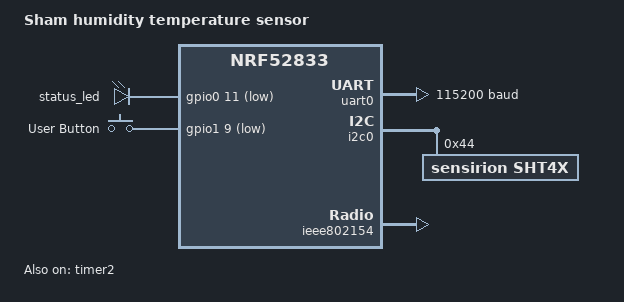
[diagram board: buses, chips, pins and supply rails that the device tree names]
/*
 * Copyright (c) 2024 Tareq Mhisen
 */

/dts-v1/;
#include <nordic/nrf52833_qdaa.dtsi>
#include "sham_nrf52833-pinctrl.dtsi"

/ {
	model = "Sham humidity temperature sensor";
	compatible = "sham_TBZ,sham_nrf52833";

	chosen {
		zephyr,console = &uart0;
		zephyr,sram = &sram0;
		zephyr,flash = &flash0;
		zephyr,code-partition = &slot0_partition;
		zephyr,ieee802154 = &ieee802154;
		ncs,zigbee-timer = &timer2;
	};

	leds {
		compatible = "gpio-leds";
		status_led: red_led {
			gpios = <&gpio0 11 GPIO_ACTIVE_LOW>;
		};
	};

	buttons {
		compatible = "gpio-keys";
		user_button: button_0 {
			gpios = <&gpio1 9 GPIO_ACTIVE_LOW>;
			label = "User Button";
		};
	};

	aliases {
		led0 = &status_led;
		sw0 = &user_button;
	};
};

&gpiote {
	status = "okay";
};

&gpio0 {
	status = "okay";
};

&gpio1 {
	status = "okay";
	/*
	 * Currently edge interrupts are using GPIOTE events. Using GPIOTE events results in increased
	 * power consumption according to product specifications and erratas of some nRF MCUs. In case
	 * of nRF52833, it is <20uA in System ON Idle. Selecting GPIO SENSE option will allow to reduce
	 * power consumption.
	 */
	sense-edge-mask = <0x00000200>; /* Enable SENSE for pin 9 (user_button) */
};

&uicr {
	gpio-as-nreset;
};

&reg1 {
	regulator-initial-mode = <NRF5X_REG_MODE_DCDC>;
};

&uart0 {
	compatible = "nordic,nrf-uarte";
	status = "okay";
	disable-rx;
	current-speed = <115200>;
	pinctrl-0 = <&uart0_default>;
	pinctrl-1 = <&uart0_sleep>;
	pinctrl-names = "default", "sleep";
};

&i2c0 {
	compatible = "nordic,nrf-twim";
	status = "okay";
	pinctrl-0 = <&i2c0_default>;
	pinctrl-1 = <&i2c0_sleep>;
	pinctrl-names = "default", "sleep";
	sht4x@44 {
		compatible = "sensirion,sht4x";
		reg = <0x44>;
		repeatability = <2>;
	};
};

&timer2 {
	status = "okay";
};

/* Enable IEEE 802.14.5 radio in order to zigbee to work */
&ieee802154 {
	status = "okay";
};

/*
 * All the information regarding partitions defined here will be ignored by Nordic SDK, as soon as a second image (i.e. mcuboot) is enabled.
 * Nordic has their own approach to define partitions. In case you want to know more about the approach from Nordic,
  * you can have a look on this documentation: https: //developer.nordicsemi.com/nRF_Connect_SDK/doc/latest/nrf/scripts/partition_manager/partition_manager.html
  */
 &flash0 {

	 partitions {
		 compatible = "fixed-partitions";
		#address-cells = <1>;
		#size-cells = <1>;

		boot_partition: partition@0 {
			label = "mcuboot";
			reg = <0x00000000 0xC000>;
		};
		slot0_partition: partition@c000 {
			label = "image-0";
			reg = <0x0000C000 0x37000>;
		};
		slot1_partition: partition@43000 {
			label = "image-1";
			reg = <0x00043000 0x37000>;
		};
		storage_partition: partition@7a000 {
			label = "storage";
			reg = <0x0007A000 0x00006000>;
		};
	};
};
